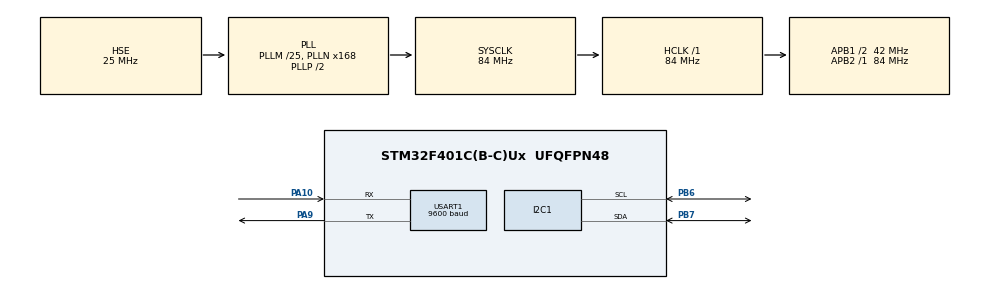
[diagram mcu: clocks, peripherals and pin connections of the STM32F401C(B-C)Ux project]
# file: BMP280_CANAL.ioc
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Mcu.Family=STM32F4
Mcu.Name=STM32F401C(B-C)Ux
Mcu.Package=UFQFPN48
NVIC.PriorityGroup=NVIC_PRIORITYGROUP_4
PA10.Mode=Asynchronous
PA10.Signal=USART1_RX
PA9.Mode=Asynchronous
PA9.Signal=USART1_TX
PB6.Mode=I2C
PB6.Signal=I2C1_SCL
PB7.Mode=I2C
PB7.Signal=I2C1_SDA
PH0\ -\ OSC_IN.Mode=HSE-External-Oscillator
PH0\ -\ OSC_IN.Signal=RCC_OSC_IN
PH1\ -\ OSC_OUT.Mode=HSE-External-Oscillator
PH1\ -\ OSC_OUT.Signal=RCC_OSC_OUT
ProjectManager.HeapSize=0x200
ProjectManager.StackSize=0x400
ProjectManager.TargetToolchain=STM32CubeIDE
RCC.48MHZClocksFreq_Value=42000000
RCC.AHBFreq_Value=84000000
RCC.APB1CLKDivider=RCC_HCLK_DIV2
RCC.APB1Freq_Value=42000000
RCC.APB1TimFreq_Value=84000000
RCC.APB2Freq_Value=84000000
RCC.APB2TimFreq_Value=84000000
RCC.CortexFreq_Value=84000000
RCC.HCLKFreq_Value=84000000
RCC.HSE_VALUE=25000000
RCC.HSI_VALUE=16000000
RCC.LSE_VALUE=32768
RCC.PLLM=25
RCC.PLLN=168
RCC.PLLSourceVirtual=RCC_PLLSOURCE_HSE
RCC.SYSCLKFreq_VALUE=84000000
RCC.SYSCLKSource=RCC_SYSCLKSOURCE_PLLCLK
RCC.VCOOutputFreq_Value=168000000
USART1.BaudRate=9600
USART1.VirtualMode=VM_ASYNC
board=custom

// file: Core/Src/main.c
/* USER CODE BEGIN Header */
/**
  ******************************************************************************
  * @file           : main.c
  * @brief          : Main program body
  ******************************************************************************
  * @attention
  *
  * Copyright (c) 2023 STMicroelectronics.
  * All rights reserved.
  *
  * This software is licensed under terms that can be found in the LICENSE file
  * in the root directory of this software component.
  * If no LICENSE file comes with this software, it is provided AS-IS.
  *
  ******************************************************************************
  */
/* USER CODE END Header */
#include "main.h"

/* USER CODE BEGIN Includes */
#include "bmp280.h"
#include "uart.h"

#include "stdio.h"
#include "string.h"

/* USER CODE END Includes */

I2C_HandleTypeDef hi2c1;

UART_HandleTypeDef huart1;

/* USER CODE BEGIN PV */

BMP280_HandleTypedef bmp280;

float pressure, temperature, humidity;

uint16_t size;
uint8_t Data[256];
/* USER CODE END PV */

void SystemClock_Config(void);
static void MX_GPIO_Init(void);
static void MX_I2C1_Init(void);
static void MX_USART1_UART_Init(void);

int main(void)
{

  /* MCU Configuration--------------------------------------------------------*/

  /* Reset of all peripherals, Initializes the Flash interface and the Systick. */
  HAL_Init();

  /* Configure the system clock */
  SystemClock_Config();

  /* Initialize all configured peripherals */
  MX_GPIO_Init();
  MX_I2C1_Init();
  MX_USART1_UART_Init();
  /* USER CODE BEGIN 2 */
    bmp280_init_default_params(&bmp280.params);
  	bmp280.addr = BMP280_I2C_ADDRESS_0;
  	bmp280.i2c = &hi2c1;

  	while (!bmp280_init(&bmp280, &bmp280.params)) {
  		sprintf(Data, "BMP280 initialization failed\n");
  		uartx_write_text(&huart1, Data);
  		HAL_Delay(2000);
  	}
  	bool bme280p = bmp280.id == BME280_CHIP_ID;
  	 sprintf(Data, "BMP280: found %s\n", bme280p ? "BME280" : "BMP280");
 	uartx_write_text(&huart1, Data);

  /* USER CODE END 2 */

  /* Infinite loop */
  /* USER CODE BEGIN WHILE */
  while (1)
  {  HAL_Delay(100);
 	while (!bmp280_read_float(&bmp280, &temperature, &pressure, &humidity)) {
		 sprintf(Data,"Temperature/pressure reading failed\n");
		 uartx_write_text(&huart1, Data);
		 HAL_Delay(2000);
	}

	sprintf(Data,"Pressure: %.2f Pa\r\nTemperature: %.2f C\r\n\r\n",pressure, temperature);
	uartx_write_text(&huart1, Data);

	HAL_Delay(500);

    /* USER CODE END WHILE */

  }
}

void SystemClock_Config(void)
{
  RCC_OscInitTypeDef RCC_OscInitStruct = {0};
  RCC_ClkInitTypeDef RCC_ClkInitStruct = {0};

  /** Configure the main internal regulator output voltage
  */
  __HAL_RCC_PWR_CLK_ENABLE();
  __HAL_PWR_VOLTAGESCALING_CONFIG(PWR_REGULATOR_VOLTAGE_SCALE2);

  /** Initializes the RCC Oscillators according to the specified parameters
  * in the RCC_OscInitTypeDef structure.
  */
  RCC_OscInitStruct.OscillatorType = RCC_OSCILLATORTYPE_HSE;
  RCC_OscInitStruct.HSEState = RCC_HSE_ON;
  RCC_OscInitStruct.PLL.PLLState = RCC_PLL_ON;
  RCC_OscInitStruct.PLL.PLLSource = RCC_PLLSOURCE_HSE;
  RCC_OscInitStruct.PLL.PLLM = 25;
  RCC_OscInitStruct.PLL.PLLN = 168;
  RCC_OscInitStruct.PLL.PLLP = RCC_PLLP_DIV2;
  RCC_OscInitStruct.PLL.PLLQ = 4;
  if (HAL_RCC_OscConfig(&RCC_OscInitStruct) != HAL_OK)
  {
    Error_Handler();
  }

  /** Initializes the CPU, AHB and APB buses clocks
  */
  RCC_ClkInitStruct.ClockType = RCC_CLOCKTYPE_HCLK|RCC_CLOCKTYPE_SYSCLK
                              |RCC_CLOCKTYPE_PCLK1|RCC_CLOCKTYPE_PCLK2;
  RCC_ClkInitStruct.SYSCLKSource = RCC_SYSCLKSOURCE_PLLCLK;
  RCC_ClkInitStruct.AHBCLKDivider = RCC_SYSCLK_DIV1;
  RCC_ClkInitStruct.APB1CLKDivider = RCC_HCLK_DIV2;
  RCC_ClkInitStruct.APB2CLKDivider = RCC_HCLK_DIV1;

  if (HAL_RCC_ClockConfig(&RCC_ClkInitStruct, FLASH_LATENCY_2) != HAL_OK)
  {
    Error_Handler();
  }
}

static void MX_I2C1_Init(void)
{

  hi2c1.Instance = I2C1;
  hi2c1.Init.ClockSpeed = 100000;
  hi2c1.Init.DutyCycle = I2C_DUTYCYCLE_2;
  hi2c1.Init.OwnAddress1 = 0;
  hi2c1.Init.AddressingMode = I2C_ADDRESSINGMODE_7BIT;
  hi2c1.Init.DualAddressMode = I2C_DUALADDRESS_DISABLE;
  hi2c1.Init.OwnAddress2 = 0;
  hi2c1.Init.GeneralCallMode = I2C_GENERALCALL_DISABLE;
  hi2c1.Init.NoStretchMode = I2C_NOSTRETCH_DISABLE;
  if (HAL_I2C_Init(&hi2c1) != HAL_OK)
  {
    Error_Handler();
  }

}

static void MX_USART1_UART_Init(void)
{

  huart1.Instance = USART1;
  huart1.Init.BaudRate = 9600;
  huart1.Init.WordLength = UART_WORDLENGTH_8B;
  huart1.Init.StopBits = UART_STOPBITS_1;
  huart1.Init.Parity = UART_PARITY_NONE;
  huart1.Init.Mode = UART_MODE_TX_RX;
  huart1.Init.HwFlowCtl = UART_HWCONTROL_NONE;
  huart1.Init.OverSampling = UART_OVERSAMPLING_16;
  if (HAL_UART_Init(&huart1) != HAL_OK)
  {
    Error_Handler();
  }

}

static void MX_GPIO_Init(void)
{

  /* GPIO Ports Clock Enable */
  __HAL_RCC_GPIOH_CLK_ENABLE();
  __HAL_RCC_GPIOA_CLK_ENABLE();
  __HAL_RCC_GPIOB_CLK_ENABLE();

}

void Error_Handler(void)
{
  __disable_irq();
  while (1)
  {
  }
}
